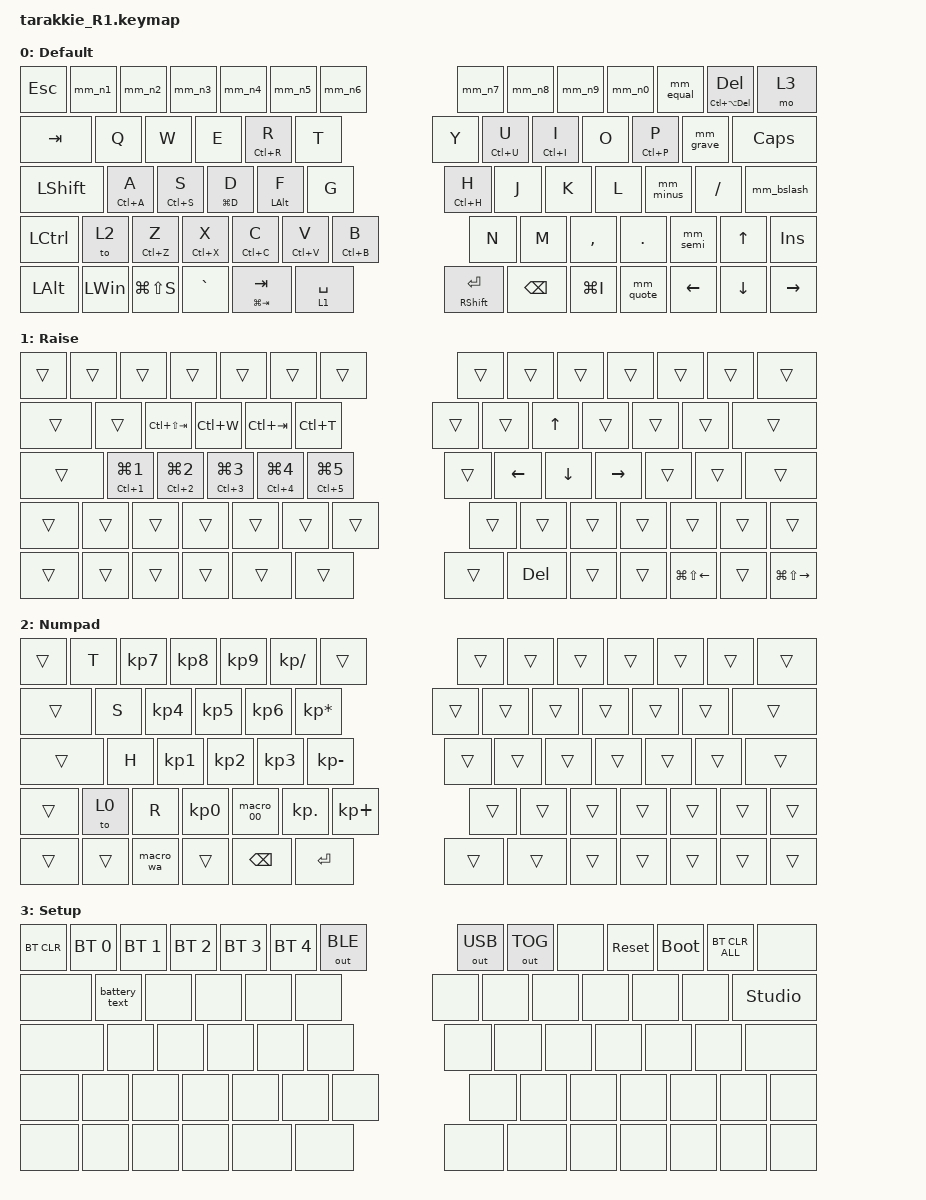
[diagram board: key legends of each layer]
/*
 * Copyright (c) 2025 The ZMK Contributors
 *
 * SPDX-License-Identifier: MIT
 */

#include <behaviors.dtsi>
#include <dt-bindings/zmk/bt.h>
#include <dt-bindings/zmk/keys.h>
#include <dt-bindings/zmk/outputs.h>

// OS設定を日本語キーボードのまま使用するための変換定義

#define JP_DQUOTE       LS(N2)            // "
#define JP_AMPERSAND    LS(N6)            // &
#define JP_QUOTE        LS(N7)            // '
#define JP_EQUAL        LS(MINUS)         // =
#define JP_CARET        EQUAL             // ^
#define JP_YEN          INT3              // ¥
#define JP_PLUS         LS(SCLN)          // +
#define JP_TILDE        LS(EQUAL)         // ~
#define JP_PIPE         LS(INT3)          // |
#define JP_AT           LBKT              // @
#define JP_COLON        QUOT              // :
#define JP_ASTERISK     LS(QUOT)          // *
#define JP_BACKQUOTE    LS(LBKT)          // `
#define JP_UNDERSCORE   LS(INT1)          // _
#define JP_LBRACKET     RBKT              // [
#define JP_RBRACKET     BSLH              // ]
#define JP_LPAREN       LS(N8)            // (
#define JP_RPAREN       LS(N9)            // )
#define JP_LBRACE       LS(RBKT)          // {
#define JP_RBRACE       LS(BSLH)          // }
#define JP_PIPE         LS(INT3)          // |

#define AS(keycode) &as LS(keycode) keycode

&mt {
    flavor = "tap-preferred";
    tapping-term-ms = <200>;
};

/ {
    macros {
        tab_win: tab_win {
            compatible = "zmk,behavior-macro";
            #binding-cells = <0>;
            bindings = <&kp LG(TAB)>;
        };

        win_d: win_d {
            compatible = "zmk,behavior-macro";
            #binding-cells = <0>;
            bindings = <&kp LG(D)>;
        };

        l0_alt: l0_alt {
            compatible = "zmk,behavior-macro";
            #binding-cells = <0>;
            bindings =
                <&to 0>,
                <&macro_press>,
                <&kp LALT>,
                <&macro_pause_for_release>,
                <&macro_release>,
                <&kp LALT>;

            label = "L0_ALT";
        };

        l0_ctrl_a: l0_ctrl_a {
            compatible = "zmk,behavior-macro";
            #binding-cells = <0>;
            bindings = <&to 0 &kp LC(A)>;
            label = "L0_CTRL_A";
        };

        l0_ctrl_x: l0_ctrl_x {
            compatible = "zmk,behavior-macro";
            #binding-cells = <0>;
            bindings = <&to 0 &kp LC(X)>;
            label = "L0_CTRL_X";
        };

        l0_ctrl_c: l0_ctrl_c {
            compatible = "zmk,behavior-macro";
            #binding-cells = <0>;
            bindings = <&to 0 &kp LC(C)>;
            label = "L0_CTRL_C";
        };

        l0_ctrl_v: l0_ctrl_v {
            compatible = "zmk,behavior-macro";
            #binding-cells = <0>;
            bindings = <&to 0 &kp LC(V)>;
            label = "L0_CTRL_V";
        };

        macro_kakko: macro_kakko {
            compatible = "zmk,behavior-macro";
            #binding-cells = <0>;
            wait-ms = <30>;
            tap-ms = <30>;
            bindings = <&kp LANG1 &kp JP_LBRACKET &kp JP_RBRACKET &kp ENTER &kp LEFT>;
        };

        macro_paren: macro_paren {
            compatible = "zmk,behavior-macro";
            #binding-cells = <0>;
            wait-ms = <30>;
            tap-ms = <30>;
            bindings = <&kp LANG1 &kp JP_LPAREN &kp JP_RPAREN &kp ENTER &kp LEFT>;
        };

        macro_00: macro_00 {
            compatible = "zmk,behavior-macro";
            #binding-cells = <0>;
            bindings = <&kp KP_NUMBER_0 &kp KP_NUMBER_0>;
        };

        macro_wa: macro_wa {
            compatible = "zmk,behavior-macro";
            #binding-cells = <0>;
            bindings = <&kp W &kp A>;
        };
    };

    behaviors {
        battery_text: battery_text {
            compatible = "zmk,behavior-battery-text";
            #binding-cells = <0>;
            display-name = "Battery Text";
        };

        ht_tab: ht_tab {
            compatible = "zmk,behavior-hold-tap";
            #binding-cells = <2>;
            flavor = "tap-preferred";
            tapping-term-ms = <200>;
            bindings = <&tab_win>, <&kp>;
        };

        ht_d: ht_d {
            compatible = "zmk,behavior-hold-tap";
            #binding-cells = <2>;
            flavor = "tap-preferred";
            tapping-term-ms = <200>;
            bindings = <&win_d>, <&kp>;
        };

        ht_g: ht_g {
            compatible = "zmk,behavior-hold-tap";
            #binding-cells = <2>;
            flavor = "tap-preferred";
            tapping-term-ms = <200>;
            bindings = <&to>, <&kp>;
        };

        ht_l0_alt: ht_l0_alt {
            compatible = "zmk,behavior-hold-tap";
            #binding-cells = <2>;
            flavor = "tap-preferred";
            tapping-term-ms = <200>;
            bindings = <&l0_alt>, <&kp>;
        };

        ht_l0_ctrl_a: ht_l0_ctrl_a {
            compatible = "zmk,behavior-hold-tap";
            #binding-cells = <2>;
            flavor = "tap-preferred";
            tapping-term-ms = <200>;
            bindings = <&l0_ctrl_a>, <&kp>;
        };

        ht_l0_ctrl_x: ht_l0_ctrl_x {
            compatible = "zmk,behavior-hold-tap";
            #binding-cells = <2>;
            flavor = "tap-preferred";
            tapping-term-ms = <200>;
            bindings = <&l0_ctrl_x>, <&kp>;
        };

        ht_l0_ctrl_c: ht_l0_ctrl_c {
            compatible = "zmk,behavior-hold-tap";
            #binding-cells = <2>;
            flavor = "tap-preferred";
            tapping-term-ms = <200>;
            bindings = <&l0_ctrl_c>, <&kp>;
        };

        ht_l0_ctrl_v: ht_l0_ctrl_v {
            compatible = "zmk,behavior-hold-tap";
            #binding-cells = <2>;
            flavor = "tap-preferred";
            tapping-term-ms = <200>;
            bindings = <&l0_ctrl_v>, <&kp>;
        };

        td_lang: td_lang {
            compatible = "zmk,behavior-tap-dance";
            #binding-cells = <0>;
            tapping-term-ms = <200>;
            bindings = <&kp LANGUAGE_1>, <&kp LANGUAGE_2>;
        };

        // US Keycap Emulation for JIS OS (Mod-Morph + Hold-Tap for Numbers)

        mm_n1: mm_n1 {
            compatible = "zmk,behavior-mod-morph";
            #binding-cells = <0>;
            bindings = <&mt F1 N1>, <&kp EXCLAMATION>;

            mods = <(MOD_LSFT|MOD_RSFT)>;
        };

        mm_n2: mm_n2 {
            compatible = "zmk,behavior-mod-morph";
            #binding-cells = <0>;
            bindings = <&mt F2 N2>, <&kp JP_AT>;

            mods = <(MOD_LSFT|MOD_RSFT)>;
        };

        mm_n3: mm_n3 {
            compatible = "zmk,behavior-mod-morph";
            #binding-cells = <0>;
            bindings = <&mt F3 N3>, <&kp HASH>;

            mods = <(MOD_LSFT|MOD_RSFT)>;
        };

        mm_n4: mm_n4 {
            compatible = "zmk,behavior-mod-morph";
            #binding-cells = <0>;
            bindings = <&mt F4 N4>, <&kp DOLLAR>;

            mods = <(MOD_LSFT|MOD_RSFT)>;
        };

        mm_n5: mm_n5 {
            compatible = "zmk,behavior-mod-morph";
            #binding-cells = <0>;
            bindings = <&mt F5 N5>, <&kp PERCENT>;

            mods = <(MOD_LSFT|MOD_RSFT)>;
        };

        mm_n6: mm_n6 {
            compatible = "zmk,behavior-mod-morph";
            #binding-cells = <0>;
            bindings = <&mt F6 N6>, <&kp JP_CARET>;

            mods = <(MOD_LSFT|MOD_RSFT)>;
        };

        mm_n7: mm_n7 {
            compatible = "zmk,behavior-mod-morph";
            #binding-cells = <0>;
            bindings = <&mt F7 N7>, <&kp JP_AMPERSAND>;

            mods = <(MOD_LSFT|MOD_RSFT)>;
        };

        mm_n8: mm_n8 {
            compatible = "zmk,behavior-mod-morph";
            #binding-cells = <0>;
            bindings = <&mt F8 N8>, <&kp JP_ASTERISK>;

            mods = <(MOD_LSFT|MOD_RSFT)>;
        };

        mm_n9: mm_n9 {
            compatible = "zmk,behavior-mod-morph";
            #binding-cells = <0>;
            bindings = <&mt F9 N9>, <&kp JP_LPAREN>;

            mods = <(MOD_LSFT|MOD_RSFT)>;
        };

        mm_n0: mm_n0 {
            compatible = "zmk,behavior-mod-morph";
            #binding-cells = <0>;
            bindings = <&mt F10 N0>, <&kp JP_RPAREN>;

            mods = <(MOD_LSFT|MOD_RSFT)>;
        };

        mm_semi: mm_semi {
            compatible = "zmk,behavior-mod-morph";
            #binding-cells = <0>;
            bindings = <&kp SEMI>, <&kp JP_COLON>;

            mods = <(MOD_LSFT|MOD_RSFT)>;
        };

        mm_quote: mm_quote {
            compatible = "zmk,behavior-mod-morph";
            #binding-cells = <0>;
            bindings = <&kp JP_QUOTE>, <&kp JP_DQUOTE>;

            mods = <(MOD_LSFT|MOD_RSFT)>;
        };

        mm_minus: mm_minus {
            compatible = "zmk,behavior-mod-morph";
            #binding-cells = <0>;
            bindings = <&kp MINUS>, <&kp JP_UNDERSCORE>;

            mods = <(MOD_LSFT|MOD_RSFT)>;
        };

        mm_equal: mm_equal {
            compatible = "zmk,behavior-mod-morph";
            #binding-cells = <0>;
            bindings = <&kp JP_EQUAL>, <&kp JP_PLUS>;

            mods = <(MOD_LSFT|MOD_RSFT)>;
        };

        mm_grave: mm_grave {
            compatible = "zmk,behavior-mod-morph";
            #binding-cells = <0>;
            bindings = <&kp JP_BACKQUOTE>, <&kp JP_TILDE>;

            mods = <(MOD_LSFT|MOD_RSFT)>;
        };

        mm_bslash: mm_bslash {
            compatible = "zmk,behavior-mod-morph";
            #binding-cells = <0>;
            bindings = <&kp INT1>, <&kp JP_PIPE>;

            mods = <(MOD_LSFT|MOD_RSFT)>;
        };
    };

    combos {
        compatible = "zmk,combos";

        alt+tab {
            bindings = <&kp LA(TAB)>;
            key-positions = <31 58>;
        };

        alt+f4 {
            bindings = <&kp LA(F4)>;
            key-positions = <31 30 59>;
        };

        paste {
            bindings = <&mt LG(V) LC(LS(V))>;
            key-positions = <59 45>;
        };

        combo_lbkt {
            bindings = <&kp JP_LBRACKET>;
            key-positions = <30 31>;
            timeout-ms = <50>;
        };

        combo_rbkt {
            bindings = <&kp JP_RBRACKET>;
            key-positions = <34 35>;
            timeout-ms = <50>;
        };

        combo_kakko {
            bindings = <&macro_kakko>;
            key-positions = <30 31 34 35>;
            timeout-ms = <50>;
        };

        combo_lparen {
            bindings = <&kp JP_LPAREN>;
            key-positions = <17 18>;
            timeout-ms = <50>;
        };

        combo_rparen {
            bindings = <&kp JP_RPAREN>;
            key-positions = <21 22>;
            timeout-ms = <50>;
        };

        combo_paren {
            bindings = <&macro_paren>;
            key-positions = <17 18 21 22>;
            timeout-ms = <50>;
        };

        greave {
            bindings = <&kp GRAVE>;
            key-positions = <59 60>;
        };

        studio_unlock_left {
            bindings = <&studio_unlock>;
            key-positions = <0 1 2 3>;
            timeout-ms = <100>;
        };
    };

    keymap {
        compatible = "zmk,keymap";

        default_layer {
            display-name = "Default";

            // | ESC | 1 | 2 | 3 | 4 | 5 | 6 |     | 7 | 8 | 9 | 0 | - | Fn | ? |
            // | Alt | Q | W | E | R | T | ? |     | Y | U | I | O | P | Caps | ? |
            // | Shift | A | S | D | F | G | ? |   | H | J | K | L | : | @ | ? |
            // | Ctrl | * | Z | X | C | V | B |     | N | M | , | . | ^ | Dn | Fn |
            // | Win | Alt | E/J | tab | Enter | ? | | space | BackSpace | AltGr | ? | ? | ? | ? |

            bindings = <
&kp ESC       &mm_n1        &mm_n2         &mm_n3       &mm_n4           &mm_n5       &mm_n6       &mm_n7                 &mm_n8         &mm_n9       &mm_n0     &mm_equal    &mt LC(LA(DELETE)) DELETE  &mo 3
&kp TAB       &kp Q         &kp W          &kp E        &mt LC(R) R      &kp T                     &kp Y                  &mt LC(U) U    &mt LC(I) I  &kp O      &mt LC(P) P  &mm_grave                  &kp CAPSLOCK
&kp LSHFT     &mt LC(A) A   &mt LC(S) S    &mt LG(D) D  &mt LEFT_ALT F   &kp G                     &mt LC(H) H            &kp J          &kp K        &kp L      &mm_minus    &kp SLASH                  &mm_bslash
&kp LCTRL     &to 2         &mt LC(Z) Z    &mt LC(X) X  &mt LC(C) C      &mt LC(V) V  &mt LC(B) B  &kp N                  &kp M          &kp COMMA    &kp DOT    &mm_semi     &kp UP                     &kp INSERT
&kp LEFT_ALT  &kp LEFT_WIN  &kp LG(LS(S))  &kp GRAVE    &mt LG(TAB) TAB  &lt 1 SPACE               &mt RIGHT_SHIFT ENTER  &kp BACKSPACE  &kp LG(I)    &mm_quote  &kp LEFT     &kp DOWN                   &kp RIGHT
            >;
        };

        fn_layer {
            display-name = "Raise";
            bindings = <
&trans  &trans                   &trans                         &trans                         &trans                         &trans             &trans  &trans  &trans      &trans    &trans     &trans            &trans  &trans
&trans  &trans                   &kp LC(LS(TAB))                &kp LC(W)                      &kp LC(TAB)                    &kp LC(T)                  &trans  &trans      &kp UP    &trans     &trans            &trans  &trans
&trans  &mt LC(NUMBER_1) LG(N1)  &mt LC(NUMBER_2) LG(NUMBER_2)  &mt LC(NUMBER_3) LG(NUMBER_3)  &mt LC(NUMBER_4) LG(NUMBER_4)  &mt LC(N5) LG(N5)          &trans  &kp LEFT    &kp DOWN  &kp RIGHT  &trans            &trans  &trans
&trans  &trans                   &trans                         &trans                         &trans                         &trans             &trans  &trans  &trans      &trans    &trans     &trans            &trans  &trans
&trans  &trans                   &trans                         &trans                         &trans                         &trans                     &trans  &kp DELETE  &trans    &trans     &kp LG(LS(LEFT))  &trans  &kp LG(LS(RIGHT))
            >;
        };

        num_layer {
            display-name = "Numpad";
            bindings = <
&trans  &kp T   &kp KP_NUMBER_7  &kp KP_NUMBER_8  &kp KP_NUMBER_9  &kp KP_SLASH     &trans       &trans  &trans  &trans  &trans  &trans  &trans  &trans
&trans  &kp S   &kp KP_NUMBER_4  &kp KP_NUMBER_5  &kp KP_NUMBER_6  &kp KP_MULTIPLY               &trans  &trans  &trans  &trans  &trans  &trans  &trans
&trans  &kp H   &kp KP_NUMBER_1  &kp KP_NUMBER_2  &kp KP_NUMBER_3  &kp KP_MINUS                  &trans  &trans  &trans  &trans  &trans  &trans  &trans
&trans  &to 0   &kp R            &kp KP_NUMBER_0  &macro_00        &kp KP_DOT       &kp KP_PLUS  &trans  &trans  &trans  &trans  &trans  &trans  &trans
&trans  &trans  &macro_wa        &trans           &kp BACKSPACE    &kp ENTER                     &trans  &trans  &trans  &trans  &trans  &trans  &trans
            >;
        };

        setup_layer {
            display-name = "Setup";
            bindings = <
&bt BT_CLR  &bt BT_SEL 0  &bt BT_SEL 1  &bt BT_SEL 2  &bt BT_SEL 3  &bt BT_SEL 4  &out OUT_BLE  &out OUT_USB  &out OUT_TOG  &none  &sys_reset  &bootloader  &bt BT_CLR_ALL  &none
&none       &battery_text &none         &none         &none         &none                &none  &none  &none  &none       &none        &none           &studio_unlock
&none       &none         &none         &none         &none         &none                &none  &none  &none  &none       &none        &none           &none
&none       &none         &none         &none         &none         &none         &none  &none  &none  &none  &none       &none        &none           &none
&none       &none         &none         &none         &none         &none                &none  &none  &none  &none       &none        &none           &none
            >;
        };

        extra1 {
            status = "reserved";
        };

        extra2 {
            status = "reserved";
        };
    };
};
